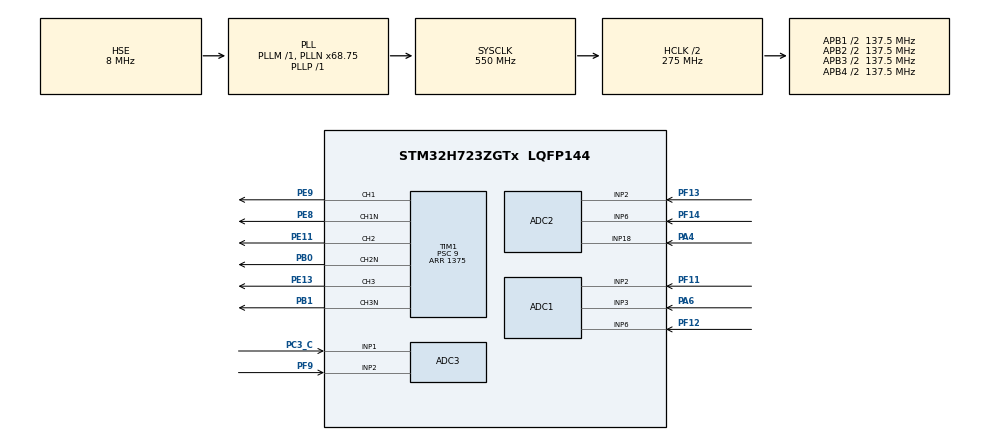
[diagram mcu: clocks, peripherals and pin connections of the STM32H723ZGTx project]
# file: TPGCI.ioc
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ADC1.Channel-0\#ChannelRegularConversion=ADC_CHANNEL_2
ADC1.Channel-1\#ChannelRegularConversion=ADC_CHANNEL_3
ADC1.Channel-2\#ChannelRegularConversion=ADC_CHANNEL_6
ADC1.ClockPrescaler=ADC_CLOCK_ASYNC_DIV1
ADC1.ClockPrescalerADC3=ADC_CLOCK_ASYNC_DIV1
ADC1.ContinuousConvMode=DISABLE
ADC1.ConversionDataManagement=ADC_CONVERSIONDATA_DMA_CIRCULAR
ADC1.EOCSelection=ADC_EOC_SEQ_CONV
ADC1.ExternalTrigConv=ADC_EXTERNALTRIG_T1_TRGO
ADC1.NbrOfConversion=3
ADC1.NbrOfConversionFlag=1
ADC1.OffsetNumber-0\#ChannelRegularConversion=ADC_OFFSET_NONE
ADC1.OffsetNumber-1\#ChannelRegularConversion=ADC_OFFSET_NONE
ADC1.OffsetNumber-2\#ChannelRegularConversion=ADC_OFFSET_NONE
ADC1.OffsetSignedSaturation-0\#ChannelRegularConversion=DISABLE
ADC1.OffsetSignedSaturation-1\#ChannelRegularConversion=DISABLE
ADC1.OffsetSignedSaturation-2\#ChannelRegularConversion=DISABLE
ADC1.Rank-0\#ChannelRegularConversion=1
ADC1.Rank-1\#ChannelRegularConversion=2
ADC1.Rank-2\#ChannelRegularConversion=3
ADC1.SamplingTime-0\#ChannelRegularConversion=ADC_SAMPLETIME_1CYCLE_5
ADC1.SamplingTime-1\#ChannelRegularConversion=ADC_SAMPLETIME_1CYCLE_5
ADC1.SamplingTime-2\#ChannelRegularConversion=ADC_SAMPLETIME_1CYCLE_5
ADC1.master=1
ADC2.Channel-0\#ChannelRegularConversion=ADC_CHANNEL_2
ADC2.Channel-1\#ChannelRegularConversion=ADC_CHANNEL_6
ADC2.Channel-2\#ChannelRegularConversion=ADC_CHANNEL_18
ADC2.ClockPrescalerADC3=ADC_CLOCK_ASYNC_DIV1
ADC2.ContinuousConvMode=DISABLE
ADC2.ConversionDataManagement=ADC_CONVERSIONDATA_DMA_CIRCULAR
ADC2.EOCSelection=ADC_EOC_SEQ_CONV
ADC2.ExternalTrigConv=ADC_EXTERNALTRIG_T1_TRGO
ADC2.NbrOfConversion=3
ADC2.NbrOfConversionFlag=1
ADC2.OffsetNumber-0\#ChannelRegularConversion=ADC_OFFSET_NONE
ADC2.OffsetNumber-1\#ChannelRegularConversion=ADC_OFFSET_NONE
ADC2.OffsetNumber-2\#ChannelRegularConversion=ADC_OFFSET_NONE
ADC2.OffsetSignedSaturation-0\#ChannelRegularConversion=DISABLE
ADC2.OffsetSignedSaturation-1\#ChannelRegularConversion=DISABLE
ADC2.OffsetSignedSaturation-2\#ChannelRegularConversion=DISABLE
ADC2.Rank-0\#ChannelRegularConversion=1
ADC2.Rank-1\#ChannelRegularConversion=2
ADC2.Rank-2\#ChannelRegularConversion=3
ADC2.SamplingTime-0\#ChannelRegularConversion=ADC_SAMPLETIME_1CYCLE_5
ADC2.SamplingTime-1\#ChannelRegularConversion=ADC_SAMPLETIME_1CYCLE_5
ADC2.SamplingTime-2\#ChannelRegularConversion=ADC_SAMPLETIME_1CYCLE_5
ADC3.Channel-0\#ChannelRegularConversion=ADC_CHANNEL_1
ADC3.Channel-2\#ChannelRegularConversion=ADC_CHANNEL_2
ADC3.ClockPrescaler=ADC_CLOCK_ASYNC_DIV1
ADC3.ClockPrescalerADC3=ADC_CLOCK_ASYNC_DIV1
ADC3.ContinuousConvMode=DISABLE
ADC3.ConversionDataManagement=ADC_CONVERSIONDATA_DMA_CIRCULAR
ADC3.DMAContinuousRequests=ENABLE
ADC3.EOCSelection=ADC_EOC_SEQ_CONV
ADC3.ExternalTrigConv=ADC_EXTERNALTRIG_T1_TRGO
ADC3.NbrOfConversion=2
ADC3.NbrOfConversionFlag=1
ADC3.OffsetNumber-0\#ChannelRegularConversion=ADC_OFFSET_NONE
ADC3.OffsetNumber-2\#ChannelRegularConversion=ADC_OFFSET_NONE
ADC3.OffsetSign-0\#ChannelRegularConversion=ADC3_OFFSET_SIGN_NEGATIVE
ADC3.OffsetSign-2\#ChannelRegularConversion=ADC3_OFFSET_SIGN_NEGATIVE
ADC3.Rank-0\#ChannelRegularConversion=1
ADC3.Rank-2\#ChannelRegularConversion=2
ADC3.Ratio=ADC3_OVERSAMPLING_RATIO_2
ADC3.SamplingTime-0\#ChannelRegularConversion=ADC3_SAMPLETIME_2CYCLES_5
ADC3.SamplingTime-2\#ChannelRegularConversion=ADC3_SAMPLETIME_2CYCLES_5
CORTEX_M7.default_mode_Activation=1
Dma.ADC1.0.Direction=DMA_PERIPH_TO_MEMORY
Dma.ADC1.0.EventEnable=DISABLE
Dma.ADC1.0.FIFOMode=DMA_FIFOMODE_DISABLE
Dma.ADC1.0.Instance=DMA1_Stream0
Dma.ADC1.0.MemDataAlignment=DMA_MDATAALIGN_HALFWORD
Dma.ADC1.0.MemInc=DMA_MINC_ENABLE
Dma.ADC1.0.Mode=DMA_CIRCULAR
Dma.ADC1.0.PeriphDataAlignment=DMA_PDATAALIGN_HALFWORD
Dma.ADC1.0.PeriphInc=DMA_PINC_DISABLE
Dma.ADC1.0.Polarity=HAL_DMAMUX_REQ_GEN_RISING
Dma.ADC1.0.Priority=DMA_PRIORITY_LOW
Dma.ADC1.0.RequestNumber=1
Dma.ADC1.0.SignalID=NONE
Dma.ADC1.0.SyncEnable=DISABLE
Dma.ADC1.0.SyncPolarity=HAL_DMAMUX_SYNC_NO_EVENT
Dma.ADC1.0.SyncRequestNumber=1
Dma.ADC1.0.SyncSignalID=NONE
Dma.ADC2.1.Direction=DMA_PERIPH_TO_MEMORY
Dma.ADC2.1.EventEnable=DISABLE
Dma.ADC2.1.FIFOMode=DMA_FIFOMODE_DISABLE
Dma.ADC2.1.Instance=DMA1_Stream1
Dma.ADC2.1.MemDataAlignment=DMA_MDATAALIGN_HALFWORD
Dma.ADC2.1.MemInc=DMA_MINC_ENABLE
Dma.ADC2.1.Mode=DMA_CIRCULAR
Dma.ADC2.1.PeriphDataAlignment=DMA_PDATAALIGN_HALFWORD
Dma.ADC2.1.PeriphInc=DMA_PINC_DISABLE
Dma.ADC2.1.Polarity=HAL_DMAMUX_REQ_GEN_RISING
Dma.ADC2.1.Priority=DMA_PRIORITY_LOW
Dma.ADC2.1.RequestNumber=1
Dma.ADC2.1.SignalID=NONE
Dma.ADC2.1.SyncEnable=DISABLE
Dma.ADC2.1.SyncPolarity=HAL_DMAMUX_SYNC_NO_EVENT
Dma.ADC2.1.SyncRequestNumber=1
Dma.ADC2.1.SyncSignalID=NONE
Dma.ADC3.2.Direction=DMA_PERIPH_TO_MEMORY
Dma.ADC3.2.EventEnable=DISABLE
Dma.ADC3.2.FIFOMode=DMA_FIFOMODE_DISABLE
Dma.ADC3.2.Instance=DMA2_Stream2
Dma.ADC3.2.MemDataAlignment=DMA_MDATAALIGN_HALFWORD
Dma.ADC3.2.MemInc=DMA_MINC_ENABLE
Dma.ADC3.2.Mode=DMA_CIRCULAR
Dma.ADC3.2.PeriphDataAlignment=DMA_PDATAALIGN_HALFWORD
Dma.ADC3.2.PeriphInc=DMA_PINC_DISABLE
Dma.ADC3.2.Polarity=HAL_DMAMUX_REQ_GEN_RISING
Dma.ADC3.2.Priority=DMA_PRIORITY_LOW
Dma.ADC3.2.RequestNumber=1
Dma.ADC3.2.SignalID=NONE
Dma.ADC3.2.SyncEnable=DISABLE
Dma.ADC3.2.SyncPolarity=HAL_DMAMUX_SYNC_NO_EVENT
Dma.ADC3.2.SyncRequestNumber=1
Dma.ADC3.2.SyncSignalID=NONE
Dma.Request0=ADC1
Dma.Request1=ADC2
Dma.Request2=ADC3
Mcu.Family=STM32H7
Mcu.Name=STM32H723ZGTx
Mcu.Package=LQFP144
NUCLEO-H723ZG.BUTTON=1
NUCLEO-H723ZG.LD1=true
NUCLEO-H723ZG.LD2=true
NUCLEO-H723ZG.LD3=true
NUCLEO-H723ZG.VCP=true
NVIC.DMA1_Stream0_IRQn=true\:0\:0\:false\:false\:true\:false\:true\:true
NVIC.DMA1_Stream1_IRQn=true\:0\:0\:false\:false\:true\:false\:true\:true
NVIC.DMA2_Stream2_IRQn=true\:0\:0\:false\:false\:true\:false\:true\:true
NVIC.PriorityGroup=NVIC_PRIORITYGROUP_4
NVIC.TIM1_UP_IRQn=true\:0\:0\:false\:false\:true\:true\:true\:true
NVIC.TIM2_IRQn=true\:0\:0\:false\:false\:true\:true\:true\:true
NVIC.TIM8_UP_TIM13_IRQn=true\:0\:0\:false\:false\:true\:true\:true\:true
PA4.Signal=ADCx_INP18
PA6.Signal=ADCx_INP3
PB0.Mode=PWM Generation2 CH2 CH2N
PB0.Signal=TIM1_CH2N
PB1.Mode=PWM Generation3 CH3 CH3N
PB1.Signal=TIM1_CH3N
PC3_C.Mode=IN1-Single-Ended
PC3_C.Signal=ADC3_INP1
PE11.Signal=S_TIM1_CH2
PE13.Signal=S_TIM1_CH3
PE8.Mode=PWM Generation1 CH1 CH1N
PE8.Signal=TIM1_CH1N
PE9.Signal=S_TIM1_CH1
PF11.Mode=IN2-Single-Ended
PF11.Signal=ADC1_INP2
PF12.Mode=IN6-Single-Ended
PF12.Signal=ADC1_INP6
PF13.Mode=IN2-Single-Ended
PF13.Signal=ADC2_INP2
PF14.Mode=IN6-Single-Ended
PF14.Signal=ADC2_INP6
PF9.Mode=IN2-Single-Ended
PF9.Signal=ADC3_INP2
PH0-OSC_IN.Mode=HSE-External-Oscillator
PH0-OSC_IN.Signal=RCC_OSC_IN
PH1-OSC_OUT.Mode=HSE-External-Oscillator
PH1-OSC_OUT.Signal=RCC_OSC_OUT
ProjectManager.HeapSize=0x200
ProjectManager.StackSize=0x400
ProjectManager.TargetToolchain=STM32CubeIDE
RCC.ADCFreq_Value=19200000
RCC.APB1Freq_Value=137500000
RCC.APB2Freq_Value=137500000
RCC.APB3Freq_Value=137500000
RCC.APB4Freq_Value=137500000
RCC.CortexFreq_Value=550000000
RCC.D1PPRE=RCC_APB3_DIV2
RCC.D2PPRE1=RCC_APB1_DIV2
RCC.D2PPRE2=RCC_APB2_DIV2
RCC.D3PPRE=RCC_APB4_DIV2
RCC.DIVM1=1
RCC.DIVM2=1
RCC.DIVN1=68
RCC.DIVN2=24
RCC.DIVP1=1
RCC.DIVP2=10
RCC.DIVQ1=4
RCC.HCLKFreq_Value=275000000
RCC.HPRE=RCC_HCLK_DIV2
RCC.HSE_VALUE=8000000
RCC.PLL2FRACN=0
RCC.PLLFRACN=6144
RCC.PLLSourceVirtual=RCC_PLLSOURCE_HSE
RCC.SYSCLKFreq_VALUE=550000000
RCC.SYSCLKSource=RCC_SYSCLKSOURCE_PLLCLK
RCC.USBCLockSelection=RCC_USBCLKSOURCE_HSI48
RCC.USBFreq_Value=48000000
SH.ADCx_INP18.0=ADC2_INP18,IN18-Single-Ended
SH.ADCx_INP3.0=ADC1_INP3,IN3-Single-Ended
SH.S_TIM1_CH1.0=TIM1_CH1,PWM Generation1 CH1 CH1N
SH.S_TIM1_CH2.0=TIM1_CH2,PWM Generation2 CH2 CH2N
SH.S_TIM1_CH3.0=TIM1_CH3,PWM Generation3 CH3 CH3N
TIM1.Channel-PWM\ Generation1\ CH1\ CH1N=TIM_CHANNEL_1
TIM1.Channel-PWM\ Generation2\ CH2\ CH2N=TIM_CHANNEL_2
TIM1.Channel-PWM\ Generation3\ CH3\ CH3N=TIM_CHANNEL_3
TIM1.DeadTime=255
TIM1.Period=1375
TIM1.Prescaler=9
TIM1.TIM_MasterOutputTrigger=TIM_TRGO_UPDATE
TIM2.Period=6875
TIM2.Prescaler=0
TIM8.Period=40000
TIM8.Prescaler=9
VP_MEMORYMAP_VS_MEMORYMAP.Mode=CurAppReg
VP_TIM1_VS_ClockSourceINT.Mode=Internal
VP_TIM2_VS_ClockSourceINT.Mode=Internal
VP_TIM8_VS_ClockSourceINT.Mode=Internal
board=NUCLEO-H723ZG

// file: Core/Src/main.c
/* USER CODE BEGIN Header */
/**
  ******************************************************************************
  * @file           : main.c
  * @brief          : Main program body
  ******************************************************************************
  * @attention
  *
  * Copyright (c) 2025 STMicroelectronics.
  * All rights reserved.
  *
  * This software is licensed under terms that can be found in the LICENSE file
  * in the root directory of this software component.
  * If no LICENSE file comes with this software, it is provided AS-IS.
  *
  ******************************************************************************
  */
/* USER CODE END Header */
#include "main.h"

/* USER CODE BEGIN Includes */
#include "butterworth_filter.h"
//#include "TPGCI_STM32.h"               /* Model header file */
#include "TPGCI_2.h"
//#include "TPGCI_STM32_2.h"
/* USER CODE END Includes */

ADC_HandleTypeDef hadc1;
ADC_HandleTypeDef hadc2;
ADC_HandleTypeDef hadc3;
DMA_HandleTypeDef hdma_adc1;
DMA_HandleTypeDef hdma_adc2;
DMA_HandleTypeDef hdma_adc3;

TIM_HandleTypeDef htim1;
TIM_HandleTypeDef htim2;
TIM_HandleTypeDef htim8;

/* USER CODE BEGIN PV */

//********************************** Main inputs ******************************//
float VDC_i=400;
float CCR_max_i = 1375;
float Id_ref_i = 3;
float Iq_ref_i = 0;
float r_ph_shift=0;
float y_ph_shift=0;
float b_ph_shift=0;
float phasedelay_i = 0;
// ******************** Analog to Digital conversion variables **************************//
float VOLTAGE_R_PHASE 	= 0.0;		//ADC1 Channel 2 pin PF11
float VOLTAGE_Y_PHASE 	= 0.0;		//ADC1 Channel 3 pin PA6
float VOLTAGE_B_PHASE 	= 0.0;		//ADC1 Channel 6 pin PF12
float VOLTAGE_R_OFFSET  = 2.00;
float VOLTAGE_Y_OFFSET  = 2.00;
float VOLTAGE_B_OFFSET  = 2.00;
float VOLTAGE_R_GAIN 	= 376.7;
float VOLTAGE_Y_GAIN 	= 373.381;
float VOLTAGE_B_GAIN 	= 400.136;
float CURRENT_R_PHASE 	= 0.0;		//ADC1 Channel 2 pin PF11
float CURRENT_Y_PHASE 	= 0.0;		//ADC1 Channel 3 pin PA6
float CURRENT_B_PHASE 	= 0.0;		//ADC1 Channel 6 pin PF12
float CURRENT_R_OFFSET  = 2.0;
float CURRENT_Y_OFFSET  = 2.0;
float CURRENT_B_OFFSET  = 2.0;
float CURRENT_R_GAIN	= 9;
float CURRENT_Y_GAIN 	= 9;
float CURRENT_B_GAIN 	= 9;
float DC_Voltage = 0.0f;
float DC_Current = 0.0f;
float DC_Voltage_Gain = 0.0f;
float DC_Current_Gain = 0.0f;
const float VREF 		= 3.3; 			   // Reference voltage (assume 3.3V)
const uint32_t ADC_16bRESOLUTION = 65535;  // 16-bit resolution (0-65535)
const uint32_t ADC_12bRESOLUTION = 4096;   // 16-bit resolution (0-4096)
uint16_t VoltageadcBuffer[3];     //voltage buffer for DMA
uint16_t CurrentadcBuffer[3];     //current buffer for DMA
uint16_t DCSenseBuffer[2];
// ******************** Checking variables **************************//
float Tim1_check=0.0f;
float Tim2_check=0.0f;
float Tim8_check=0.0f;
float ADC1_Check=0.0f;
float ADC2_Check=0.0f;
float ADC3_Check=0.0f;
// ***************Buffers to hold previous input/output values *****************//
float VoltageR_Input[3] = {0.0f, 0.0f, 0.0f};
float VoltageR_Output[3] = {0.0f, 0.0f, 0.0f};
float VoltageY_Input[3] = {0.0f, 0.0f, 0.0f};
float VoltageY_Output[3] = {0.0f, 0.0f, 0.0f};
float VoltageB_Input[3] = {0.0f, 0.0f, 0.0f};
float VoltageB_Output[3] = {0.0f, 0.0f, 0.0f};
float CurrentR_Input[3] = {0.0f, 0.0f, 0.0f};
float CurrentR_Output[3] = {0.0f, 0.0f, 0.0f};
float CurrentY_Input[3] = {0.0f, 0.0f, 0.0f};
float CurrentY_Output[3] = {0.0f, 0.0f, 0.0f};
float CurrentB_Input[3] = {0.0f, 0.0f, 0.0f};
float CurrentB_Output[3] = {0.0f, 0.0f, 0.0f};

/* USER CODE END PV */

void SystemClock_Config(void);
void PeriphCommonClock_Config(void);
static void MPU_Config(void);
static void MX_GPIO_Init(void);
static void MX_DMA_Init(void);
static void MX_TIM1_Init(void);
static void MX_TIM2_Init(void);
static void MX_TIM8_Init(void);
static void MX_ADC2_Init(void);
static void MX_ADC3_Init(void);
static void MX_ADC1_Init(void);

int main(void)
{

  /* MPU Configuration--------------------------------------------------------*/
  MPU_Config();

  /* MCU Configuration--------------------------------------------------------*/

  /* Reset of all peripherals, Initializes the Flash interface and the Systick. */
  HAL_Init();

  /* Configure the system clock */
  SystemClock_Config();

  /* Configure the peripherals common clocks */
  PeriphCommonClock_Config();

  /* Initialize all configured peripherals */
  MX_GPIO_Init();
  MX_DMA_Init();
  MX_TIM1_Init();
  MX_TIM2_Init();
  MX_TIM8_Init();
  MX_ADC2_Init();
  MX_ADC3_Init();
  MX_ADC1_Init();
  /* USER CODE BEGIN 2 */

  // Timers starting with interrupts //
  HAL_TIM_Base_Start_IT(&htim1);
  HAL_TIM_Base_Start_IT(&htim2);
  HAL_TIM_Base_Start_IT(&htim8);

  // Start the ADC in DMA mode, with 3 channels
  HAL_ADC_Start_DMA(&hadc1, (uint32_t*)VoltageadcBuffer, 3);
  HAL_ADC_Start_DMA(&hadc2, (uint32_t*)CurrentadcBuffer, 3);
  HAL_ADC_Start_DMA(&hadc3, (uint32_t*)DCSenseBuffer, 2);
  // Timer 1 PWM pulses starting //
  HAL_TIM_PWM_Start(&htim1, TIM_CHANNEL_1);
  HAL_TIMEx_PWMN_Start(&htim1, TIM_CHANNEL_1);
  HAL_TIM_PWM_Start(&htim1, TIM_CHANNEL_2);
  HAL_TIMEx_PWMN_Start(&htim1, TIM_CHANNEL_2);
  HAL_TIM_PWM_Start(&htim1, TIM_CHANNEL_3);
  HAL_TIMEx_PWMN_Start(&htim1, TIM_CHANNEL_3);
  TPGCI_2_initialize();
//  TPGCI_STM32_initialize();
//  TPGCI_STM32_2_initialize();
  /* USER CODE END 2 */

  /* Infinite loop */
  while (1)
  {

  }
}

void SystemClock_Config(void)
{
  RCC_OscInitTypeDef RCC_OscInitStruct = {0};
  RCC_ClkInitTypeDef RCC_ClkInitStruct = {0};

  /** Supply configuration update enable
  */
  HAL_PWREx_ConfigSupply(PWR_LDO_SUPPLY);

  /** Configure the main internal regulator output voltage
  */
  __HAL_PWR_VOLTAGESCALING_CONFIG(PWR_REGULATOR_VOLTAGE_SCALE0);

  while(!__HAL_PWR_GET_FLAG(PWR_FLAG_VOSRDY)) {}

  /** Initializes the RCC Oscillators according to the specified parameters
  * in the RCC_OscInitTypeDef structure.
  */
  RCC_OscInitStruct.OscillatorType = RCC_OSCILLATORTYPE_HSE;
  RCC_OscInitStruct.HSEState = RCC_HSE_ON;
  RCC_OscInitStruct.PLL.PLLState = RCC_PLL_ON;
  RCC_OscInitStruct.PLL.PLLSource = RCC_PLLSOURCE_HSE;
  RCC_OscInitStruct.PLL.PLLM = 1;
  RCC_OscInitStruct.PLL.PLLN = 68;
  RCC_OscInitStruct.PLL.PLLP = 1;
  RCC_OscInitStruct.PLL.PLLQ = 4;
  RCC_OscInitStruct.PLL.PLLR = 2;
  RCC_OscInitStruct.PLL.PLLRGE = RCC_PLL1VCIRANGE_3;
  RCC_OscInitStruct.PLL.PLLVCOSEL = RCC_PLL1VCOWIDE;
  RCC_OscInitStruct.PLL.PLLFRACN = 6144;
  if (HAL_RCC_OscConfig(&RCC_OscInitStruct) != HAL_OK)
  {
    Error_Handler();
  }

  /** Initializes the CPU, AHB and APB buses clocks
  */
  RCC_ClkInitStruct.ClockType = RCC_CLOCKTYPE_HCLK|RCC_CLOCKTYPE_SYSCLK
                              |RCC_CLOCKTYPE_PCLK1|RCC_CLOCKTYPE_PCLK2
                              |RCC_CLOCKTYPE_D3PCLK1|RCC_CLOCKTYPE_D1PCLK1;
  RCC_ClkInitStruct.SYSCLKSource = RCC_SYSCLKSOURCE_PLLCLK;
  RCC_ClkInitStruct.SYSCLKDivider = RCC_SYSCLK_DIV1;
  RCC_ClkInitStruct.AHBCLKDivider = RCC_HCLK_DIV2;
  RCC_ClkInitStruct.APB3CLKDivider = RCC_APB3_DIV2;
  RCC_ClkInitStruct.APB1CLKDivider = RCC_APB1_DIV2;
  RCC_ClkInitStruct.APB2CLKDivider = RCC_APB2_DIV2;
  RCC_ClkInitStruct.APB4CLKDivider = RCC_APB4_DIV2;

  if (HAL_RCC_ClockConfig(&RCC_ClkInitStruct, FLASH_LATENCY_3) != HAL_OK)
  {
    Error_Handler();
  }
}

void PeriphCommonClock_Config(void)
{
  RCC_PeriphCLKInitTypeDef PeriphClkInitStruct = {0};

  /** Initializes the peripherals clock
  */
  PeriphClkInitStruct.PeriphClockSelection = RCC_PERIPHCLK_ADC;
  PeriphClkInitStruct.PLL2.PLL2M = 1;
  PeriphClkInitStruct.PLL2.PLL2N = 24;
  PeriphClkInitStruct.PLL2.PLL2P = 10;
  PeriphClkInitStruct.PLL2.PLL2Q = 2;
  PeriphClkInitStruct.PLL2.PLL2R = 2;
  PeriphClkInitStruct.PLL2.PLL2RGE = RCC_PLL2VCIRANGE_3;
  PeriphClkInitStruct.PLL2.PLL2VCOSEL = RCC_PLL2VCOWIDE;
  PeriphClkInitStruct.PLL2.PLL2FRACN = 0;
  PeriphClkInitStruct.AdcClockSelection = RCC_ADCCLKSOURCE_PLL2;
  if (HAL_RCCEx_PeriphCLKConfig(&PeriphClkInitStruct) != HAL_OK)
  {
    Error_Handler();
  }
}

static void MX_ADC1_Init(void)
{

  ADC_MultiModeTypeDef multimode = {0};
  ADC_ChannelConfTypeDef sConfig = {0};

  /** Common config
  */
  hadc1.Instance = ADC1;
  hadc1.Init.ClockPrescaler = ADC_CLOCK_ASYNC_DIV1;
  hadc1.Init.Resolution = ADC_RESOLUTION_16B;
  hadc1.Init.ScanConvMode = ADC_SCAN_ENABLE;
  hadc1.Init.EOCSelection = ADC_EOC_SEQ_CONV;
  hadc1.Init.LowPowerAutoWait = DISABLE;
  hadc1.Init.ContinuousConvMode = DISABLE;
  hadc1.Init.NbrOfConversion = 3;
  hadc1.Init.DiscontinuousConvMode = DISABLE;
  hadc1.Init.ExternalTrigConv = ADC_EXTERNALTRIG_T1_TRGO;
  hadc1.Init.ExternalTrigConvEdge = ADC_EXTERNALTRIGCONVEDGE_RISING;
  hadc1.Init.ConversionDataManagement = ADC_CONVERSIONDATA_DMA_CIRCULAR;
  hadc1.Init.Overrun = ADC_OVR_DATA_PRESERVED;
  hadc1.Init.LeftBitShift = ADC_LEFTBITSHIFT_NONE;
  hadc1.Init.OversamplingMode = DISABLE;
  hadc1.Init.Oversampling.Ratio = 1;
  if (HAL_ADC_Init(&hadc1) != HAL_OK)
  {
    Error_Handler();
  }

  /** Configure the ADC multi-mode
  */
  multimode.Mode = ADC_MODE_INDEPENDENT;
  if (HAL_ADCEx_MultiModeConfigChannel(&hadc1, &multimode) != HAL_OK)
  {
    Error_Handler();
  }

  /** Configure Regular Channel
  */
  sConfig.Channel = ADC_CHANNEL_2;
  sConfig.Rank = ADC_REGULAR_RANK_1;
  sConfig.SamplingTime = ADC_SAMPLETIME_1CYCLE_5;
  sConfig.SingleDiff = ADC_SINGLE_ENDED;
  sConfig.OffsetNumber = ADC_OFFSET_NONE;
  sConfig.Offset = 0;
  sConfig.OffsetSignedSaturation = DISABLE;
  if (HAL_ADC_ConfigChannel(&hadc1, &sConfig) != HAL_OK)
  {
    Error_Handler();
  }

  /** Configure Regular Channel
  */
  sConfig.Channel = ADC_CHANNEL_3;
  sConfig.Rank = ADC_REGULAR_RANK_2;
  if (HAL_ADC_ConfigChannel(&hadc1, &sConfig) != HAL_OK)
  {
    Error_Handler();
  }

  /** Configure Regular Channel
  */
  sConfig.Channel = ADC_CHANNEL_6;
  sConfig.Rank = ADC_REGULAR_RANK_3;
  if (HAL_ADC_ConfigChannel(&hadc1, &sConfig) != HAL_OK)
  {
    Error_Handler();
  }

}

static void MX_ADC2_Init(void)
{

  ADC_ChannelConfTypeDef sConfig = {0};

  /** Common config
  */
  hadc2.Instance = ADC2;
  hadc2.Init.ClockPrescaler = ADC_CLOCK_ASYNC_DIV1;
  hadc2.Init.Resolution = ADC_RESOLUTION_16B;
  hadc2.Init.ScanConvMode = ADC_SCAN_ENABLE;
  hadc2.Init.EOCSelection = ADC_EOC_SEQ_CONV;
  hadc2.Init.LowPowerAutoWait = DISABLE;
  hadc2.Init.ContinuousConvMode = DISABLE;
  hadc2.Init.NbrOfConversion = 3;
  hadc2.Init.DiscontinuousConvMode = DISABLE;
  hadc2.Init.ExternalTrigConv = ADC_EXTERNALTRIG_T1_TRGO;
  hadc2.Init.ExternalTrigConvEdge = ADC_EXTERNALTRIGCONVEDGE_RISING;
  hadc2.Init.ConversionDataManagement = ADC_CONVERSIONDATA_DMA_CIRCULAR;
  hadc2.Init.Overrun = ADC_OVR_DATA_PRESERVED;
  hadc2.Init.LeftBitShift = ADC_LEFTBITSHIFT_NONE;
  hadc2.Init.OversamplingMode = DISABLE;
  hadc2.Init.Oversampling.Ratio = 1;
  if (HAL_ADC_Init(&hadc2) != HAL_OK)
  {
    Error_Handler();
  }

  /** Configure Regular Channel
  */
  sConfig.Channel = ADC_CHANNEL_2;
  sConfig.Rank = ADC_REGULAR_RANK_1;
  sConfig.SamplingTime = ADC_SAMPLETIME_1CYCLE_5;
  sConfig.SingleDiff = ADC_SINGLE_ENDED;
  sConfig.OffsetNumber = ADC_OFFSET_NONE;
  sConfig.Offset = 0;
  sConfig.OffsetSignedSaturation = DISABLE;
  if (HAL_ADC_ConfigChannel(&hadc2, &sConfig) != HAL_OK)
  {
    Error_Handler();
  }

  /** Configure Regular Channel
  */
  sConfig.Channel = ADC_CHANNEL_6;
  sConfig.Rank = ADC_REGULAR_RANK_2;
  if (HAL_ADC_ConfigChannel(&hadc2, &sConfig) != HAL_OK)
  {
    Error_Handler();
  }

  /** Configure Regular Channel
  */
  sConfig.Channel = ADC_CHANNEL_18;
  sConfig.Rank = ADC_REGULAR_RANK_3;
  if (HAL_ADC_ConfigChannel(&hadc2, &sConfig) != HAL_OK)
  {
    Error_Handler();
  }

}

static void MX_ADC3_Init(void)
{

  ADC_ChannelConfTypeDef sConfig = {0};

  /** Common config
  */
  hadc3.Instance = ADC3;
  hadc3.Init.ClockPrescaler = ADC_CLOCK_ASYNC_DIV1;
  hadc3.Init.Resolution = ADC_RESOLUTION_12B;
  hadc3.Init.DataAlign = ADC3_DATAALIGN_RIGHT;
  hadc3.Init.ScanConvMode = ADC_SCAN_ENABLE;
  hadc3.Init.EOCSelection = ADC_EOC_SEQ_CONV;
  hadc3.Init.LowPowerAutoWait = DISABLE;
  hadc3.Init.ContinuousConvMode = DISABLE;
  hadc3.Init.NbrOfConversion = 2;
  hadc3.Init.DiscontinuousConvMode = DISABLE;
  hadc3.Init.ExternalTrigConv = ADC_EXTERNALTRIG_T1_TRGO;
  hadc3.Init.ExternalTrigConvEdge = ADC_EXTERNALTRIGCONVEDGE_RISING;
  hadc3.Init.DMAContinuousRequests = ENABLE;
  hadc3.Init.SamplingMode = ADC_SAMPLING_MODE_NORMAL;
  hadc3.Init.ConversionDataManagement = ADC_CONVERSIONDATA_DMA_CIRCULAR;
  hadc3.Init.Overrun = ADC_OVR_DATA_PRESERVED;
  hadc3.Init.LeftBitShift = ADC_LEFTBITSHIFT_NONE;
  hadc3.Init.OversamplingMode = DISABLE;
  hadc3.Init.Oversampling.Ratio = ADC3_OVERSAMPLING_RATIO_2;
  if (HAL_ADC_Init(&hadc3) != HAL_OK)
  {
    Error_Handler();
  }

  /** Configure Regular Channel
  */
  sConfig.Channel = ADC_CHANNEL_1;
  sConfig.Rank = ADC_REGULAR_RANK_1;
  sConfig.SamplingTime = ADC3_SAMPLETIME_2CYCLES_5;
  sConfig.SingleDiff = ADC_SINGLE_ENDED;
  sConfig.OffsetNumber = ADC_OFFSET_NONE;
  sConfig.Offset = 0;
  sConfig.OffsetSign = ADC3_OFFSET_SIGN_NEGATIVE;
  if (HAL_ADC_ConfigChannel(&hadc3, &sConfig) != HAL_OK)
  {
    Error_Handler();
  }

  /** Configure Regular Channel
  */
  sConfig.Channel = ADC_CHANNEL_2;
  sConfig.Rank = ADC_REGULAR_RANK_2;
  if (HAL_ADC_ConfigChannel(&hadc3, &sConfig) != HAL_OK)
  {
    Error_Handler();
  }

}

static void MX_TIM1_Init(void)
{

  TIM_ClockConfigTypeDef sClockSourceConfig = {0};
  TIM_MasterConfigTypeDef sMasterConfig = {0};
  TIM_OC_InitTypeDef sConfigOC = {0};
  TIM_BreakDeadTimeConfigTypeDef sBreakDeadTimeConfig = {0};

  htim1.Instance = TIM1;
  htim1.Init.Prescaler = 9;
  htim1.Init.CounterMode = TIM_COUNTERMODE_UP;
  htim1.Init.Period = 1375;
  htim1.Init.ClockDivision = TIM_CLOCKDIVISION_DIV1;
  htim1.Init.RepetitionCounter = 0;
  htim1.Init.AutoReloadPreload = TIM_AUTORELOAD_PRELOAD_DISABLE;
  if (HAL_TIM_Base_Init(&htim1) != HAL_OK)
  {
    Error_Handler();
  }
  sClockSourceConfig.ClockSource = TIM_CLOCKSOURCE_INTERNAL;
  if (HAL_TIM_ConfigClockSource(&htim1, &sClockSourceConfig) != HAL_OK)
  {
    Error_Handler();
  }
  if (HAL_TIM_PWM_Init(&htim1) != HAL_OK)
  {
    Error_Handler();
  }
  sMasterConfig.MasterOutputTrigger = TIM_TRGO_UPDATE;
  sMasterConfig.MasterOutputTrigger2 = TIM_TRGO2_RESET;
  sMasterConfig.MasterSlaveMode = TIM_MASTERSLAVEMODE_DISABLE;
  if (HAL_TIMEx_MasterConfigSynchronization(&htim1, &sMasterConfig) != HAL_OK)
  {
    Error_Handler();
  }
  sConfigOC.OCMode = TIM_OCMODE_PWM1;
  sConfigOC.Pulse = 0;
  sConfigOC.OCPolarity = TIM_OCPOLARITY_HIGH;
  sConfigOC.OCNPolarity = TIM_OCNPOLARITY_HIGH;
  sConfigOC.OCFastMode = TIM_OCFAST_DISABLE;
  sConfigOC.OCIdleState = TIM_OCIDLESTATE_RESET;
  sConfigOC.OCNIdleState = TIM_OCNIDLESTATE_RESET;
  if (HAL_TIM_PWM_ConfigChannel(&htim1, &sConfigOC, TIM_CHANNEL_1) != HAL_OK)
  {
    Error_Handler();
  }
  if (HAL_TIM_PWM_ConfigChannel(&htim1, &sConfigOC, TIM_CHANNEL_2) != HAL_OK)
  {
    Error_Handler();
  }
  if (HAL_TIM_PWM_ConfigChannel(&htim1, &sConfigOC, TIM_CHANNEL_3) != HAL_OK)
  {
    Error_Handler();
  }
  sBreakDeadTimeConfig.OffStateRunMode = TIM_OSSR_DISABLE;
  sBreakDeadTimeConfig.OffStateIDLEMode = TIM_OSSI_DISABLE;
  sBreakDeadTimeConfig.LockLevel = TIM_LOCKLEVEL_OFF;
  sBreakDeadTimeConfig.DeadTime = 255;
  sBreakDeadTimeConfig.BreakState = TIM_BREAK_DISABLE;
  sBreakDeadTimeConfig.BreakPolarity = TIM_BREAKPOLARITY_HIGH;
  sBreakDeadTimeConfig.BreakFilter = 0;
  sBreakDeadTimeConfig.Break2State = TIM_BREAK2_DISABLE;
  sBreakDeadTimeConfig.Break2Polarity = TIM_BREAK2POLARITY_HIGH;
  sBreakDeadTimeConfig.Break2Filter = 0;
  sBreakDeadTimeConfig.AutomaticOutput = TIM_AUTOMATICOUTPUT_DISABLE;
  if (HAL_TIMEx_ConfigBreakDeadTime(&htim1, &sBreakDeadTimeConfig) != HAL_OK)
  {
    Error_Handler();
  }
  HAL_TIM_MspPostInit(&htim1);

}

static void MX_TIM2_Init(void)
{

  TIM_ClockConfigTypeDef sClockSourceConfig = {0};
  TIM_MasterConfigTypeDef sMasterConfig = {0};

  htim2.Instance = TIM2;
  htim2.Init.Prescaler = 0;
  htim2.Init.CounterMode = TIM_COUNTERMODE_UP;
  htim2.Init.Period = 6875;
  htim2.Init.ClockDivision = TIM_CLOCKDIVISION_DIV1;
  htim2.Init.AutoReloadPreload = TIM_AUTORELOAD_PRELOAD_DISABLE;
  if (HAL_TIM_Base_Init(&htim2) != HAL_OK)
  {
    Error_Handler();
  }
  sClockSourceConfig.ClockSource = TIM_CLOCKSOURCE_INTERNAL;
  if (HAL_TIM_ConfigClockSource(&htim2, &sClockSourceConfig) != HAL_OK)
  {
    Error_Handler();
  }
  sMasterConfig.MasterOutputTrigger = TIM_TRGO_RESET;
  sMasterConfig.MasterSlaveMode = TIM_MASTERSLAVEMODE_DISABLE;
  if (HAL_TIMEx_MasterConfigSynchronization(&htim2, &sMasterConfig) != HAL_OK)
  {
    Error_Handler();
  }

}

static void MX_TIM8_Init(void)
{

  TIM_ClockConfigTypeDef sClockSourceConfig = {0};
  TIM_MasterConfigTypeDef sMasterConfig = {0};

  htim8.Instance = TIM8;
  htim8.Init.Prescaler = 9;
  htim8.Init.CounterMode = TIM_COUNTERMODE_UP;
  htim8.Init.Period = 40000;
  htim8.Init.ClockDivision = TIM_CLOCKDIVISION_DIV1;
  htim8.Init.RepetitionCounter = 0;
  htim8.Init.AutoReloadPreload = TIM_AUTORELOAD_PRELOAD_DISABLE;
  if (HAL_TIM_Base_Init(&htim8) != HAL_OK)
  {
    Error_Handler();
  }
  sClockSourceConfig.ClockSource = TIM_CLOCKSOURCE_INTERNAL;
  if (HAL_TIM_ConfigClockSource(&htim8, &sClockSourceConfig) != HAL_OK)
  {
    Error_Handler();
  }
  sMasterConfig.MasterOutputTrigger = TIM_TRGO_RESET;
  sMasterConfig.MasterOutputTrigger2 = TIM_TRGO2_RESET;
  sMasterConfig.MasterSlaveMode = TIM_MASTERSLAVEMODE_DISABLE;
  if (HAL_TIMEx_MasterConfigSynchronization(&htim8, &sMasterConfig) != HAL_OK)
  {
    Error_Handler();
  }

}

static void MX_DMA_Init(void)
{

  /* DMA controller clock enable */
  __HAL_RCC_DMA1_CLK_ENABLE();
  __HAL_RCC_DMA2_CLK_ENABLE();

  /* DMA interrupt init */
  /* DMA1_Stream0_IRQn interrupt configuration */
  HAL_NVIC_SetPriority(DMA1_Stream0_IRQn, 0, 0);
  HAL_NVIC_EnableIRQ(DMA1_Stream0_IRQn);
  /* DMA1_Stream1_IRQn interrupt configuration */
  HAL_NVIC_SetPriority(DMA1_Stream1_IRQn, 0, 0);
  HAL_NVIC_EnableIRQ(DMA1_Stream1_IRQn);
  /* DMA2_Stream2_IRQn interrupt configuration */
  HAL_NVIC_SetPriority(DMA2_Stream2_IRQn, 0, 0);
  HAL_NVIC_EnableIRQ(DMA2_Stream2_IRQn);

}

static void MX_GPIO_Init(void)
{

  /* GPIO Ports Clock Enable */
  __HAL_RCC_GPIOF_CLK_ENABLE();
  __HAL_RCC_GPIOH_CLK_ENABLE();
  __HAL_RCC_GPIOC_CLK_ENABLE();
  __HAL_RCC_GPIOA_CLK_ENABLE();
  __HAL_RCC_GPIOB_CLK_ENABLE();
  __HAL_RCC_GPIOE_CLK_ENABLE();

}

/* USER CODE BEGIN 4 */
void HAL_TIM_PeriodElapsedCallback(TIM_HandleTypeDef *htim) {

    if (htim->Instance == TIM1) {
    	__HAL_TIM_SET_COMPARE(&htim1, TIM_CHANNEL_1, PWMch1);
    	__HAL_TIM_SET_COMPARE(&htim1, TIM_CHANNEL_2, PWMch2);
    	__HAL_TIM_SET_COMPARE(&htim1, TIM_CHANNEL_3, PWMch3);
    	VDC=VDC_i;
        CCR_max = CCR_max_i;
        Id_ref = Id_ref_i;
        Iq_ref = Iq_ref_i;
        phasedelay = phasedelay_i;
    	Tim1_check++;
    }
    if (htim->Instance == TIM2) {
    	va_g=VOLTAGE_R_PHASE;
    	vb_g=VOLTAGE_Y_PHASE;
        vc_g=VOLTAGE_B_PHASE;
        ia_g=CURRENT_R_PHASE; //CURRENT_R_PHASE
        ib_g=CURRENT_Y_PHASE; //CURRENT_Y_PHASE
        ic_g=CURRENT_B_PHASE; //CURRENT_B_PHASE
        TPGCI_2_step();
    	Tim2_check++;
    }
    if (htim->Instance == TIM8) {

    	Tim8_check++;
    }
}

void HAL_ADC_ConvCpltCallback(ADC_HandleTypeDef* hadc)
{
    if (hadc->Instance == ADC1)
    {
        // Convert the raw ADC values to voltages (0 to 3.3V scale)
    	float rawR = (((((float)VoltageadcBuffer[0] * VREF) / ADC_16bRESOLUTION)-VOLTAGE_R_OFFSET)*VOLTAGE_R_GAIN)-4;
    	float rawY = (((((float)VoltageadcBuffer[1] * VREF) / ADC_16bRESOLUTION)-VOLTAGE_Y_OFFSET)*VOLTAGE_Y_GAIN)-4;
    	float rawB = (((((float)VoltageadcBuffer[2] * VREF) / ADC_16bRESOLUTION)-VOLTAGE_B_OFFSET)*VOLTAGE_B_GAIN)-4;
        // Apply the filter to each phase voltage
        VOLTAGE_R_PHASE = applyLowPassFilter(rawR, VoltageR_Input, VoltageR_Output);
        VOLTAGE_Y_PHASE = applyLowPassFilter(rawY, VoltageY_Input, VoltageY_Output);
        VOLTAGE_B_PHASE = applyLowPassFilter(rawB, VoltageB_Input, VoltageB_Output);
    	ADC1_Check++;
    }
    if (hadc->Instance == ADC2)
    {
    	float rawIR = ((((float)CurrentadcBuffer[0] * VREF) / ADC_16bRESOLUTION)-CURRENT_R_OFFSET)*CURRENT_R_GAIN;
    	float rawIY = ((((float)CurrentadcBuffer[1] * VREF) / ADC_16bRESOLUTION)-CURRENT_Y_OFFSET)*CURRENT_Y_GAIN;
    	float rawIB = ((((float)CurrentadcBuffer[2] * VREF) / ADC_16bRESOLUTION)-CURRENT_B_OFFSET)*CURRENT_B_GAIN;
    	CURRENT_R_PHASE = applyLowPassFilter(rawIR, CurrentR_Input, CurrentR_Output);
    	CURRENT_Y_PHASE = applyLowPassFilter(rawIY, CurrentY_Input, CurrentY_Output);
    	CURRENT_B_PHASE = applyLowPassFilter(rawIB, CurrentB_Input, CurrentB_Output);
    	ADC2_Check++;
    }
    if (hadc->Instance == ADC3)
    {
    	DC_Voltage = (((float)DCSenseBuffer[0] * VREF) / ADC_16bRESOLUTION);
    	DC_Current = (((float)DCSenseBuffer[1] * VREF) / ADC_16bRESOLUTION);
    	ADC3_Check++;
    }

}
/* USER CODE END 4 */

 /* MPU Configuration */

void MPU_Config(void)
{
  MPU_Region_InitTypeDef MPU_InitStruct = {0};

  /* Disables the MPU */
  HAL_MPU_Disable();

  /** Initializes and configures the Region and the memory to be protected
  */
  MPU_InitStruct.Enable = MPU_REGION_ENABLE;
  MPU_InitStruct.Number = MPU_REGION_NUMBER0;
  MPU_InitStruct.BaseAddress = 0x0;
  MPU_InitStruct.Size = MPU_REGION_SIZE_4GB;
  MPU_InitStruct.SubRegionDisable = 0x87;
  MPU_InitStruct.TypeExtField = MPU_TEX_LEVEL0;
  MPU_InitStruct.AccessPermission = MPU_REGION_NO_ACCESS;
  MPU_InitStruct.DisableExec = MPU_INSTRUCTION_ACCESS_DISABLE;
  MPU_InitStruct.IsShareable = MPU_ACCESS_SHAREABLE;
  MPU_InitStruct.IsCacheable = MPU_ACCESS_NOT_CACHEABLE;
  MPU_InitStruct.IsBufferable = MPU_ACCESS_NOT_BUFFERABLE;

  HAL_MPU_ConfigRegion(&MPU_InitStruct);
  /* Enables the MPU */
  HAL_MPU_Enable(MPU_PRIVILEGED_DEFAULT);

}

void Error_Handler(void)
{
  __disable_irq();
  while (1)
  {
  }
}
